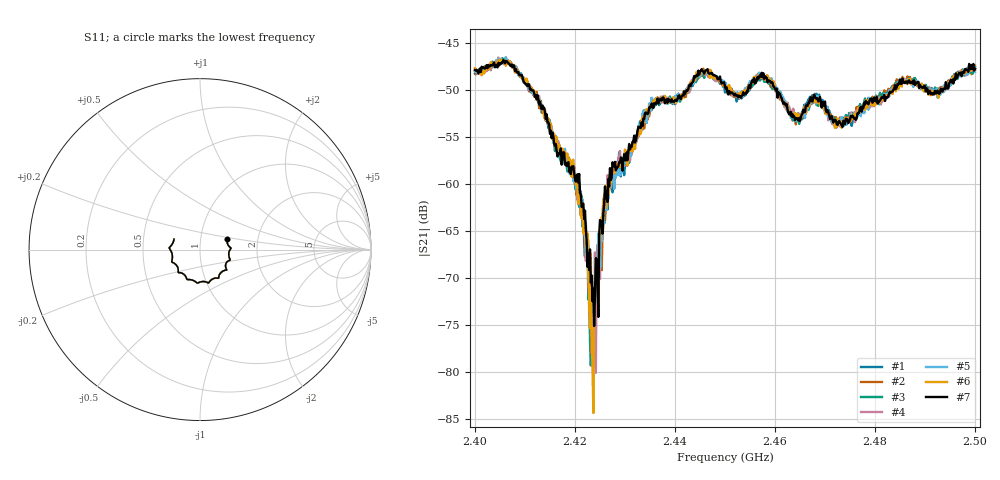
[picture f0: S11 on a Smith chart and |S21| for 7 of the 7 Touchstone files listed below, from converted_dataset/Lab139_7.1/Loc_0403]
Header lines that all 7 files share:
# Hz S RI R 50
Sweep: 2.4 GHz to 2.5 GHz
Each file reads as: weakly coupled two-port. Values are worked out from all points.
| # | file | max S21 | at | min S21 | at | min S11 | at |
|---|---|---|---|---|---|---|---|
| 1 | Lab_139_3Ch1.s2p | -46.93 dB | 2.4062 GHz | -79.5 dB | 2.424 GHz | -15.8 dB | 2.4993 GHz |
| 2 | Lab_139_4Ch1.s2p | -46.55 dB | 2.4062 GHz | -76.9 dB | 2.4235 GHz | -15.8 dB | 2.4993 GHz |
| 3 | Lab_139_5Ch1.s2p | -46.62 dB | 2.4055 GHz | -79.3 dB | 2.4232 GHz | -15.8 dB | 2.499 GHz |
| 4 | Lab_139_6Ch1.s2p | -46.55 dB | 2.4047 GHz | -80.1 dB | 2.4242 GHz | -15.8 dB | 2.4993 GHz |
| 5 | Lab_139_7Ch1.s2p | -46.53 dB | 2.4062 GHz | -78.4 dB | 2.4235 GHz | -15.8 dB | 2.4992 GHz |
| 6 | Lab_139_8Ch1.s2p | -46.79 dB | 2.4052 GHz | -84.3 dB | 2.4237 GHz | -15.8 dB | 2.4993 GHz |
| 7 | Lab_139_9Ch1.s2p | -46.84 dB | 2.4057 GHz | -75.1 dB | 2.4238 GHz | -15.8 dB | 2.4992 GHz |
